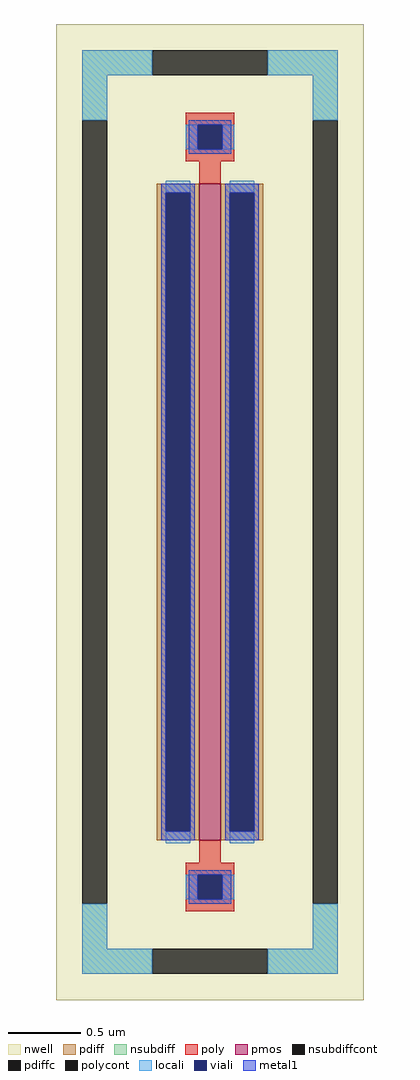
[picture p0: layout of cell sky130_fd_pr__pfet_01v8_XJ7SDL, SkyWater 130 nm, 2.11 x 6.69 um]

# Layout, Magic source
magic
tech sky130A
magscale 1 2
<< nwell >>
rect -211 -669 211 669
<< pmos >>
rect -15 -450 15 450
<< pdiff >>
rect -73 438 -15 450
rect -73 -438 -61 438
rect -27 -438 -15 438
rect -73 -450 -15 -438
rect 15 438 73 450
rect 15 -438 27 438
rect 61 -438 73 438
rect 15 -450 73 -438
<< pdiffc >>
rect -61 -438 -27 438
rect 27 -438 61 438
<< nsubdiff >>
rect -175 599 -79 633
rect 79 599 175 633
rect -175 537 -141 599
rect 141 537 175 599
rect -175 -599 -141 -537
rect 141 -599 175 -537
rect -175 -633 -79 -599
rect 79 -633 175 -599
<< nsubdiffcont >>
rect -79 599 79 633
rect -175 -537 -141 537
rect 141 -537 175 537
rect -79 -633 79 -599
<< poly >>
rect -33 531 33 547
rect -33 497 -17 531
rect 17 497 33 531
rect -33 481 33 497
rect -15 450 15 481
rect -15 -481 15 -450
rect -33 -497 33 -481
rect -33 -531 -17 -497
rect 17 -531 33 -497
rect -33 -547 33 -531
<< polycont >>
rect -17 497 17 531
rect -17 -531 17 -497
<< locali >>
rect -175 599 -79 633
rect 79 599 175 633
rect -175 537 -141 599
rect 141 537 175 599
rect -33 497 -17 531
rect 17 497 33 531
rect -61 438 -27 454
rect -61 -454 -27 -438
rect 27 438 61 454
rect 27 -454 61 -438
rect -33 -531 -17 -497
rect 17 -531 33 -497
rect -175 -599 -141 -537
rect 141 -599 175 -537
rect -175 -633 -79 -599
rect 79 -633 175 -599
<< viali >>
rect -17 497 17 531
rect -61 -438 -27 438
rect 27 -438 61 438
rect -17 -531 17 -497
<< metal1 >>
rect -29 531 29 537
rect -29 497 -17 531
rect 17 497 29 531
rect -29 491 29 497
rect -67 438 -21 450
rect -67 -438 -61 438
rect -27 -438 -21 438
rect -67 -450 -21 -438
rect 21 438 67 450
rect 21 -438 27 438
rect 61 -438 67 438
rect 21 -450 67 -438
rect -29 -497 29 -491
rect -29 -531 -17 -497
rect 17 -531 29 -497
rect -29 -537 29 -531
<< properties >>
string FIXED_BBOX -158 -616 158 616
string gencell sky130_fd_pr__pfet_01v8
string library sky130
string parameters w 4.5 l 0.15 m 1 nf 1 diffcov 100 polycov 100 guard 1 glc 1 grc 1 gtc 1 gbc 1 tbcov 100 rlcov 100 topc 1 botc 1 poverlap 0 doverlap 1 lmin 0.15 wmin 0.42 compatible {sky130_fd_pr__pfet_01v8  sky130_fd_pr__pfet_01v8_lvt sky130_fd_pr__pfet_01v8_hvt  sky130_fd_pr__pfet_g5v0d10v5} full_metal 1 viasrc 100 viadrn 100 viagate 100 viagb 0 viagr 0 viagl 0 viagt 0
<< end >>
